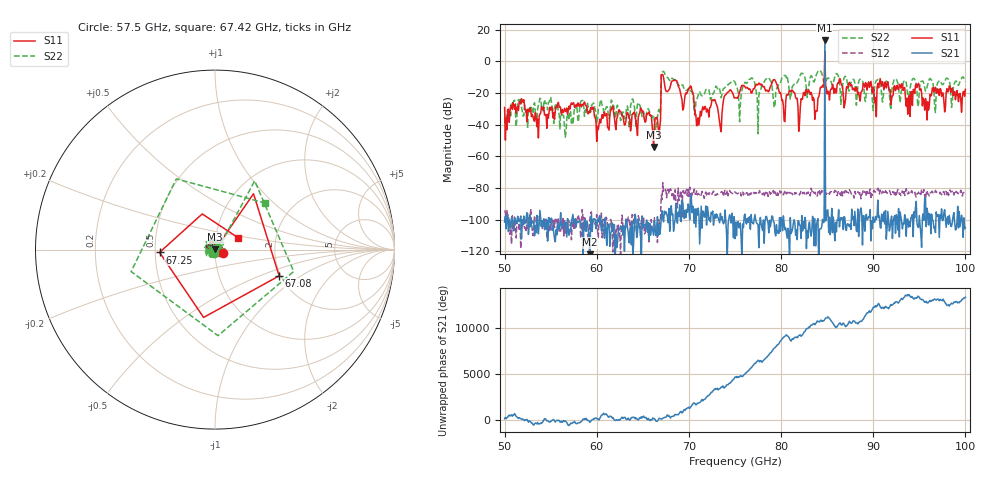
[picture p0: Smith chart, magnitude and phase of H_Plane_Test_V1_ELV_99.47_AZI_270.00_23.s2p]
! 11/27/2026 8:16:20 AM
! C:\ANRITSUVNA\TEMP\TEMP.S2P
! CHANNEL.1
! TR.MEASUREMENT
! RAW.DATA
# HZ S RI R 50.0
! FREQ.HZ  S11RE  S11IM  S21RE  S21IM  S12RE  S12IM  S22RE  S22IM
!; PortSelection: Port_12
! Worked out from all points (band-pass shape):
!   601 points, 50 GHz to 100 GHz, reference 50 ohm
!   highest |S21| = 13.26 dB at 84.75 GHz (marker M1); lowest = -130.0 dB at 59.25 GHz (marker M2)
!   |S21| within 3 dB of the highest: 84.74782 GHz to 84.75219 GHz (4.369 MHz wide, 0.00515 % of centre)
!   lowest |S11| = -54.0 dB at 66.17 GHz (marker M3), VSWR 1.00, Z = 50.1 + j0.151 ohm
!   |S11| at or under -10 dB: start of sweep to 67 GHz; 67.24 GHz to 84.69 GHz (17.45 GHz wide, 23 % of centre); 84.81 GHz to end of sweep
!   |S22| runs from -47.9 to -5.6 dB; largest |S21 - S12| = 4.6
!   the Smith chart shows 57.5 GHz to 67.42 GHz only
!   S11 on the Smith chart (normalised r, x): 57.5 GHz: 1.09, -0.05; 67.08 GHz: 1.96, -0.67; 67.25 GHz: 0.53, -0.02; 67.42 GHz: 1.29, +0.17
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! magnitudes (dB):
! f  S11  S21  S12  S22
! 50 GHz  -29.1  -101.5  -94.2  -35.9
! 57.5 GHz  -26.1  -102.6  -106.7  -34.4
! 58.42 GHz  -27.1  -102.1  -93.6  -24.6
! 59.25 GHz  -32.4  -130.0  -100.0  -30.6
! 66.17 GHz  -54.0  -109.8  -107.8  -33.9
! 66.67 GHz  -41.7  -110.1  -100.0  -31.6
! 67.08 GHz  -8.3  -94.4  -87.2  -6.8
! 67.25 GHz  -10.2  -101.4  -81.9  -6.3
! 67.42 GHz  -16.7  -96.5  -80.5  -8.4
! 70.25 GHz  -16.0  -84.2  -86.8  -18.8
! 70.92 GHz  -40.5  -97.1  -84.4  -23.0
! 75 GHz  -23.1  -112.0  -82.5  -13.0
! 79.25 GHz  -11.4  -101.6  -84.0  -28.9
! 80.25 GHz  -28.0  -97.6  -84.4  -9.3
! 83.42 GHz  -24.6  -97.9  -83.4  -10.8
! 84.75 GHz  6.5  13.3  -83.1  -16.6
! 85.08 GHz  -18.8  -93.9  -82.5  -10.4
! 91.67 GHz  -16.8  -101.0  -81.7  -15.3
! 93.75 GHz  -33.3  -99.5  -83.8  -21.8
! 94.83 GHz  -14.8  -104.5  -83.5  -28.5
! 95.83 GHz  -37.0  -92.8  -81.5  -16.4
! 100 GHz  -17.6  -104.8  -83.4  -12.6
